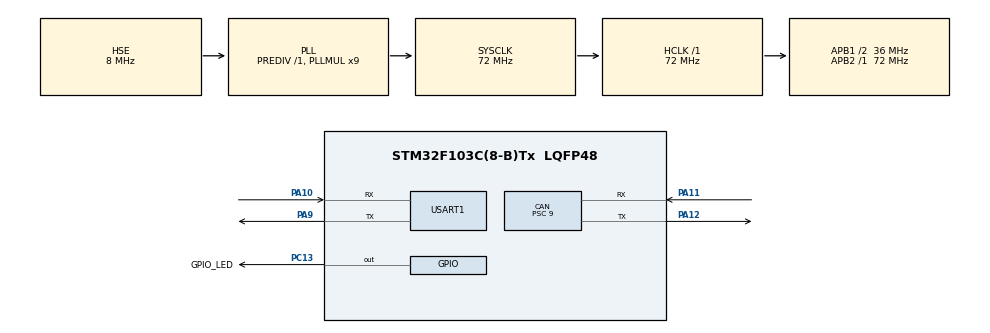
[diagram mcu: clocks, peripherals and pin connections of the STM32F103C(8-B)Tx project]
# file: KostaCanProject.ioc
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CAN.BS1=CAN_BS1_5TQ
CAN.BS2=CAN_BS2_2TQ
CAN.CalculateBaudRate=500000
CAN.CalculateTimeBit=2000
CAN.CalculateTimeQuantum=250.0
CAN.Prescaler=9
FREERTOS.Tasks01=defaultTask,0,256,StartDefaultTask,Default,NULL,Dynamic,NULL,NULL;myTask02,-3,256,StartTask02,Default,NULL,Dynamic,NULL,NULL
FREERTOS.configUSE_NEWLIB_REENTRANT=1
Mcu.Family=STM32F1
Mcu.Name=STM32F103C(8-B)Tx
Mcu.Package=LQFP48
NVIC.PriorityGroup=NVIC_PRIORITYGROUP_4
NVIC.TIM4_IRQn=true\:15\:0\:false\:false\:true\:false\:false\:true\:true
NVIC.TimeBase=TIM4_IRQn
NVIC.TimeBaseIP=TIM4
NVIC.USB_LP_CAN1_RX0_IRQn=true\:5\:0\:false\:false\:true\:true\:true\:true\:true
PA10.Mode=Asynchronous
PA10.Signal=USART1_RX
PA11.Mode=CAN_Activate
PA11.Signal=CAN_RX
PA12.Mode=CAN_Activate
PA12.Signal=CAN_TX
PA13.Mode=Serial_Wire
PA13.Signal=SYS_JTMS-SWDIO
PA14.Mode=Serial_Wire
PA14.Signal=SYS_JTCK-SWCLK
PA9.Mode=Asynchronous
PA9.Signal=USART1_TX
PC13-TAMPER-RTC.GPIO_Label=GPIO_LED
PC13-TAMPER-RTC.GPIO_ModeDefaultOutputPP=GPIO_MODE_OUTPUT_PP
PC13-TAMPER-RTC.GPIO_PuPd=GPIO_PULLUP
PC13-TAMPER-RTC.GPIO_Speed=GPIO_SPEED_FREQ_HIGH
PC13-TAMPER-RTC.PinState=GPIO_PIN_SET
PC13-TAMPER-RTC.Signal=GPIO_Output
PD0-OSC_IN.Mode=HSE-External-Oscillator
PD0-OSC_IN.Signal=RCC_OSC_IN
PD1-OSC_OUT.Mode=HSE-External-Oscillator
PD1-OSC_OUT.Signal=RCC_OSC_OUT
ProjectManager.HeapSize=0x200
ProjectManager.StackSize=0x400
ProjectManager.TargetToolchain=STM32CubeIDE
RCC.AHBFreq_Value=72000000
RCC.APB1CLKDivider=RCC_HCLK_DIV2
RCC.APB1Freq_Value=36000000
RCC.APB1TimFreq_Value=72000000
RCC.APB2Freq_Value=72000000
RCC.APB2TimFreq_Value=72000000
RCC.HCLKFreq_Value=72000000
RCC.PLLMUL=RCC_PLL_MUL9
RCC.PLLSourceVirtual=RCC_PLLSOURCE_HSE
RCC.SYSCLKFreq_VALUE=72000000
RCC.SYSCLKSource=RCC_SYSCLKSOURCE_PLLCLK
RCC.USBFreq_Value=72000000
USART1.VirtualMode=VM_ASYNC
VP_FREERTOS_VS_CMSIS_V1.Mode=CMSIS_V1
VP_SYS_VS_tim4.Mode=TIM4
board=custom

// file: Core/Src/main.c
/* USER CODE BEGIN Header */
/**
  ******************************************************************************
  * @file           : main.c
  * @brief          : Main program body
  ******************************************************************************
  * @attention
  *
  * Copyright (c) 2024 STMicroelectronics.
  * All rights reserved.
  *
  * This software is licensed under terms that can be found in the LICENSE file
  * in the root directory of this software component.
  * If no LICENSE file comes with this software, it is provided AS-IS.
  *
  ******************************************************************************
  */
/* USER CODE END Header */
#include "main.h"
#include "cmsis_os.h"
#include "can.h"
#include "usart.h"
#include "gpio.h"

void SystemClock_Config(void);
void MX_FREERTOS_Init(void);

int main(void)
{

  /* MCU Configuration--------------------------------------------------------*/

  /* Reset of all peripherals, Initializes the Flash interface and the Systick. */
  HAL_Init();

  /* Configure the system clock */
  SystemClock_Config();

  /* Initialize all configured peripherals */
  MX_GPIO_Init();
  MX_CAN_Init();
  MX_USART1_UART_Init();

  /* Call init function for freertos objects (in cmsis_os2.c) */
  MX_FREERTOS_Init();

  /* Start scheduler */
  osKernelStart();

  /* We should never get here as control is now taken by the scheduler */

  /* Infinite loop */
  while (1)
  {

  }
}

void SystemClock_Config(void)
{
  RCC_OscInitTypeDef RCC_OscInitStruct = {0};
  RCC_ClkInitTypeDef RCC_ClkInitStruct = {0};

  /** Initializes the RCC Oscillators according to the specified parameters
  * in the RCC_OscInitTypeDef structure.
  */
  RCC_OscInitStruct.OscillatorType = RCC_OSCILLATORTYPE_HSE;
  RCC_OscInitStruct.HSEState = RCC_HSE_ON;
  RCC_OscInitStruct.HSEPredivValue = RCC_HSE_PREDIV_DIV1;
  RCC_OscInitStruct.HSIState = RCC_HSI_ON;
  RCC_OscInitStruct.PLL.PLLState = RCC_PLL_ON;
  RCC_OscInitStruct.PLL.PLLSource = RCC_PLLSOURCE_HSE;
  RCC_OscInitStruct.PLL.PLLMUL = RCC_PLL_MUL9;
  if (HAL_RCC_OscConfig(&RCC_OscInitStruct) != HAL_OK)
  {
    Error_Handler();
  }

  /** Initializes the CPU, AHB and APB buses clocks
  */
  RCC_ClkInitStruct.ClockType = RCC_CLOCKTYPE_HCLK|RCC_CLOCKTYPE_SYSCLK
                              |RCC_CLOCKTYPE_PCLK1|RCC_CLOCKTYPE_PCLK2;
  RCC_ClkInitStruct.SYSCLKSource = RCC_SYSCLKSOURCE_PLLCLK;
  RCC_ClkInitStruct.AHBCLKDivider = RCC_SYSCLK_DIV1;
  RCC_ClkInitStruct.APB1CLKDivider = RCC_HCLK_DIV2;
  RCC_ClkInitStruct.APB2CLKDivider = RCC_HCLK_DIV1;

  if (HAL_RCC_ClockConfig(&RCC_ClkInitStruct, FLASH_LATENCY_2) != HAL_OK)
  {
    Error_Handler();
  }
}

void HAL_TIM_PeriodElapsedCallback(TIM_HandleTypeDef *htim)
{
  if (htim->Instance == TIM4) {
    HAL_IncTick();
  }
}

void Error_Handler(void)
{
  __disable_irq();
  while (1)
  {
  }
}

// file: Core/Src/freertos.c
/* USER CODE BEGIN Header */
/**
  ******************************************************************************
  * File Name          : freertos.c
  * Description        : Code for freertos applications
  ******************************************************************************
  * @attention
  *
  * Copyright (c) 2024 STMicroelectronics.
  * All rights reserved.
  *
  * This software is licensed under terms that can be found in the LICENSE file
  * in the root directory of this software component.
  * If no LICENSE file comes with this software, it is provided AS-IS.
  *
  ******************************************************************************
  */
/* USER CODE END Header */

#include "FreeRTOS.h"
#include "task.h"
#include "main.h"
#include "cmsis_os.h"

/* USER CODE BEGIN Variables */
extern CAN_HandleTypeDef hcan;
CAN_RxHeaderTypeDef rxHeader; //CAN Bus Transmit Header
CAN_TxHeaderTypeDef txHeader; //CAN Bus Receive Header
uint8_t canRX[8] = {0,0,0,0,0,0,0,0};  //CAN Bus Receive Buffer
CAN_FilterTypeDef canfil; //CAN Bus Filter
uint32_t canMailbox; //CAN Bus Mail box variable
/* USER CODE END Variables */
osThreadId defaultTaskHandle;
osThreadId myTask02Handle;

void StartDefaultTask(void const * argument);
void StartTask02(void const * argument);

void MX_FREERTOS_Init(void); /* (MISRA C 2004 rule 8.1) */

/* GetIdleTaskMemory prototype (linked to static allocation support) */
void vApplicationGetIdleTaskMemory( StaticTask_t **ppxIdleTaskTCBBuffer, StackType_t **ppxIdleTaskStackBuffer, uint32_t *pulIdleTaskStackSize );

/* USER CODE BEGIN GET_IDLE_TASK_MEMORY */
static StaticTask_t xIdleTaskTCBBuffer;
static StackType_t xIdleStack[configMINIMAL_STACK_SIZE];

void vApplicationGetIdleTaskMemory( StaticTask_t **ppxIdleTaskTCBBuffer, StackType_t **ppxIdleTaskStackBuffer, uint32_t *pulIdleTaskStackSize )
{
  *ppxIdleTaskTCBBuffer = &xIdleTaskTCBBuffer;
  *ppxIdleTaskStackBuffer = &xIdleStack[0];
  *pulIdleTaskStackSize = configMINIMAL_STACK_SIZE;
  /* place for user code */
}
/* USER CODE END GET_IDLE_TASK_MEMORY */

void MX_FREERTOS_Init(void) {

  /* Create the thread(s) */
  /* definition and creation of defaultTask */
  osThreadDef(defaultTask, StartDefaultTask, osPriorityNormal, 0, 256);
  defaultTaskHandle = osThreadCreate(osThread(defaultTask), NULL);

  /* definition and creation of myTask02 */
  osThreadDef(myTask02, StartTask02, osPriorityIdle, 0, 256);
  myTask02Handle = osThreadCreate(osThread(myTask02), NULL);

}

void StartDefaultTask(void const * argument)
{
  /* USER CODE BEGIN StartDefaultTask */
  /* Infinite loop */
	canfil.FilterBank = 0;
	  canfil.FilterMode = CAN_FILTERMODE_IDMASK;
	  canfil.FilterFIFOAssignment = CAN_RX_FIFO0;
	  canfil.FilterIdHigh = 0;
	  canfil.FilterIdLow = 0;
	  canfil.FilterMaskIdHigh = 0;
	  canfil.FilterMaskIdLow = 0;
	  canfil.FilterScale = CAN_FILTERSCALE_32BIT;
	  canfil.FilterActivation = ENABLE;
	  canfil.SlaveStartFilterBank = 14;

	  txHeader.DLC = 8;
	  txHeader.IDE = CAN_ID_STD;
	  txHeader.RTR = CAN_RTR_DATA;
	  txHeader.StdId = 0x050;
	  //txHeader.ExtId = 0x02;
	  txHeader.TransmitGlobalTime = DISABLE;

	  HAL_CAN_ConfigFilter(&hcan,&canfil);
	  HAL_CAN_Start(&hcan);
	  HAL_CAN_ActivateNotification(&hcan,CAN_IT_RX_FIFO0_MSG_PENDING);

	  /* Infinite loop */
	  for(;;)
	  {
		  uint8_t csend[] = {0x01,0x02,0x03,0x04,0x05,0x06,0x07,0x08};
		  HAL_CAN_AddTxMessage(&hcan,&txHeader,csend,&canMailbox);

		  //HAL_GPIO_TogglePin(GPIOC, GPIO_PIN_13);

		  osDelay(1000);
	  }

  /* USER CODE END StartDefaultTask */
}

void StartTask02(void const * argument)
{
  /* USER CODE BEGIN StartTask02 */
  /* Infinite loop */
  for(;;)
  {
	  //HAL_GPIO_TogglePin(GPIOC, GPIO_PIN_13);
	  osDelay(1000);
  }
  /* USER CODE END StartTask02 */
}

/* USER CODE BEGIN Application */
void HAL_CAN_RxFifo0MsgPendingCallback(CAN_HandleTypeDef *hcan1)
{
	HAL_CAN_GetRxMessage(hcan1, CAN_RX_FIFO0, &rxHeader, canRX);
	//HAL_GPIO_TogglePin(GPIOA, GPIO_PIN_3);

	if (rxHeader.StdId == 0x0AA) {
		HAL_GPIO_TogglePin(GPIOC, GPIO_PIN_13);
	}

}
/* USER CODE END Application */
